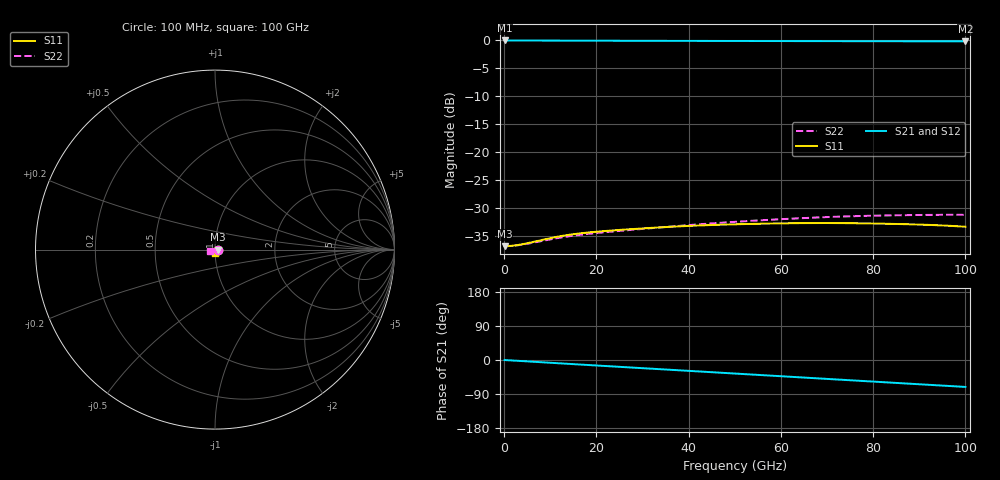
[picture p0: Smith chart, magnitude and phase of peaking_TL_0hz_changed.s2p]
#  Hz  S  RI  R  50
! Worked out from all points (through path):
!   1000 points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, 100 MHz to 100 GHz, reference 50 ohm
!   highest |S21| = -0.13 dB at 100 MHz (marker M1); lowest = -0.3 dB at 100 GHz (marker M2)
!   group delay of S21, straight-line fit = 1.97 ps
!   lowest |S11| = -36.8 dB at 100 MHz (marker M3), VSWR 1.03, Z = 51.5 + j0.00251 ohm
!   |S11| at or under -10 dB: start of sweep to end of sweep
!   |S22| runs from -36.8 to -31.2 dB; largest |S21 - S12| = 0.00051
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1e8  0.0145 2.44e-05  0.9855 -0.00128  0.9855 -0.00128  0.0145 -1.05e-05
6e8  0.0145 0.000146  0.9855 -0.00771  0.9855 -0.0077  0.0145 -6.38e-05
1.9e9  0.0147 0.000445  0.9851 -0.0244  0.9851 -0.0244  0.0146 -0.000218
3.8e9  0.0151 0.000787  0.9838 -0.0486  0.9838 -0.0486  0.015 -0.000537
1.13e10  0.0176 0.000221  0.9722 -0.1416  0.9722 -0.1416  0.0167 -0.00364
1.4e10  0.0183 -0.000609  0.966 -0.1742  0.966 -0.1741  0.017 -0.00533
1.68e10  0.0189 -0.00162  0.9587 -0.2076  0.9587 -0.2075  0.017 -0.0072
2.03e10  0.0194 -0.00298  0.948 -0.2489  0.948 -0.2488  0.0165 -0.00954
2.5e10  0.0197 -0.00482  0.9309 -0.3035  0.931 -0.3035  0.0154 -0.0125
2.92e10  0.0198 -0.00649  0.913 -0.3514  0.9131 -0.3513  0.014 -0.0151
3.34e10  0.0197 -0.00818  0.8927 -0.3981  0.8928 -0.398  0.0122 -0.0174
4.17e10  0.0189 -0.0115  0.846 -0.4867  0.8461 -0.4867  0.00777 -0.0213
5.01e10  0.0174 -0.0146  0.7899 -0.571  0.7901 -0.5709  0.00219 -0.0238
5.83e10  0.0154 -0.0172  0.7272 -0.647  0.7275 -0.647  -0.00378 -0.0248
6.67e10  0.013 -0.0194  0.6557 -0.7177  0.656 -0.7178  -0.01 -0.0241
7.52e10  0.0103 -0.0209  0.5764 -0.7815  0.5767 -0.7817  -0.016 -0.0216
8.34e10  0.00756 -0.0217  0.4942 -0.8346  0.4945 -0.8349  -0.0208 -0.0177
8.78e10  0.00614 -0.0219  0.4482 -0.8596  0.4485 -0.86  -0.023 -0.0151
9.21e10  0.00475 -0.022  0.4021 -0.8818  0.4023 -0.8822  -0.0247 -0.0123
9.65e10  0.00335 -0.0218  0.3536 -0.9018  0.3538 -0.9023  -0.0261 -0.00907
9.95e10  0.00246 -0.0216  0.3199 -0.9139  0.32 -0.9144  -0.0268 -0.00675
1e11  0.00231 -0.0215  0.3142 -0.9158  0.3144 -0.9162  -0.0269 -0.00635
